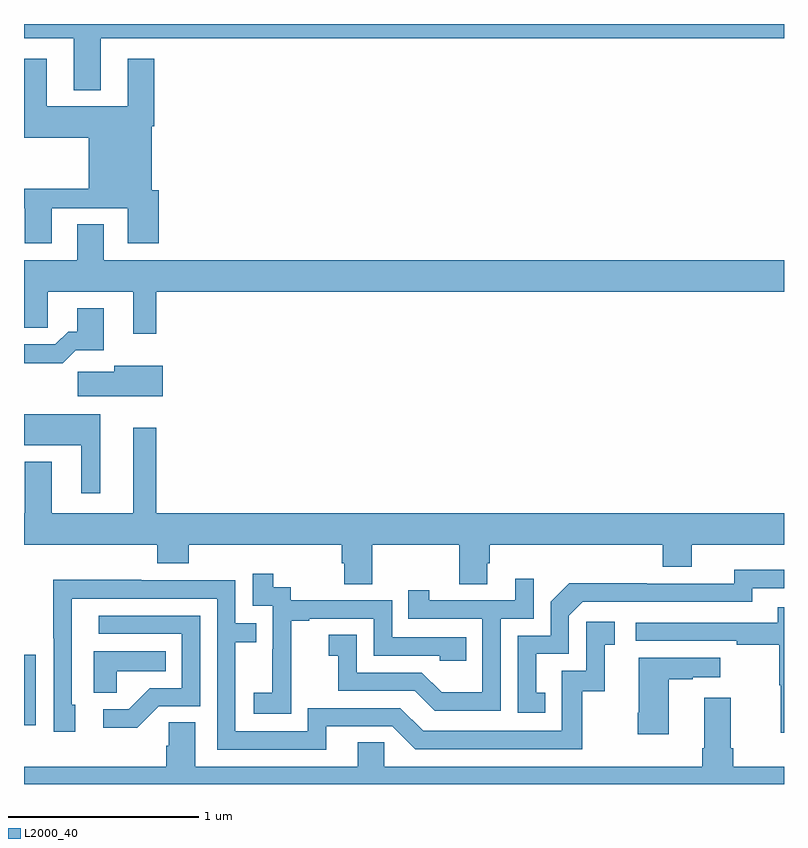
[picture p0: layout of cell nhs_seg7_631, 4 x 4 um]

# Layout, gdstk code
import gdstk
lib = gdstk.Library(unit=1e-6, precision=1e-09)
def R(c, l, rs):  # rectangles x0, y0, x1, y1
    for r in rs: c.add(gdstk.rectangle(r[:2], r[2:], *l))
def P(c, l, *ps):  # polygons
    for p in ps: c.add(gdstk.Polygon(p, *l))
L2000_40 = (2000, 40)

nhs_seg7_631 = lib.new_cell('nhs_seg7_631')
R(nhs_seg7_631, L2000_40, [(159,1022.31,159.063,1022.68)])
P(nhs_seg7_631, L2000_40, [(159.403,1025.924),(163,1025.924),(163,1026),(159,1026),(159,1025.924),(159.263,1025.924),(159.263,1025.651),(159.403,1025.651)],
  [(159.145,1025.031),(159.545,1025.031),(159.545,1024.845),(159.71,1024.845),(159.71,1025.124),(159.673,1025.124),(159.673,1025.462),(159.686,1025.462),(159.686,1025.818),(159.545,1025.818),(159.545,1025.566),(159.121,1025.566),(159.121,1025.818),(159,1025.818),(159,1025.402),(159.341,1025.402),(159.341,1025.132),(159,1025.132),(159,1025.031),(159.005,1025.031),(159.005,1024.845),(159.145,1024.845)],
  [(159.697,1024.592),(163,1024.592),(163,1024.756),(159.421,1024.756),(159.421,1024.946),(159.281,1024.946),(159.281,1024.756),(159,1024.756),(159,1024.402),(159.126,1024.402),(159.126,1024.592),(159.575,1024.592),(159.575,1024.371),(159.697,1024.371)],
  [(159.272,1024.283),(159.421,1024.283),(159.421,1024.504),(159.281,1024.504),(159.281,1024.381),(159.232,1024.381),(159.165,1024.314),(159,1024.314),(159,1024.214),(159.203,1024.214)],
  [(159.73,1024.201),(159.476,1024.201),(159.476,1024.169),(159.282,1024.169),(159.282,1024.04),(159.73,1024.04)],
  [(159.4,1023.946),(159,1023.946),(159,1023.782),(159.302,1023.782),(159.302,1023.531),(159.4,1023.531)],
  [(160.833,1023.26),(161.29,1023.26),(161.29,1023.052),(161.437,1023.052),(161.437,1023.162),(161.45,1023.162),(161.45,1023.26),(162.362,1023.26),(162.362,1023.143),(162.514,1023.143),(162.514,1023.26),(163,1023.26),(163,1023.424),(159.697,1023.424),(159.697,1023.874),(159.575,1023.874),(159.575,1023.424),(159.145,1023.424),(159.145,1023.697),(159.005,1023.697),(159.005,1023.424),(159,1023.424),(159,1023.26),(159.701,1023.26),(159.701,1023.161),(159.866,1023.161),(159.866,1023.26),(160.673,1023.26),(160.673,1023.162),(160.685,1023.162),(160.685,1023.052),(160.833,1023.052)],
  [(161.744,1022.481),(161.695,1022.481),(161.695,1022.685),(161.868,1022.685),(161.868,1022.886),(161.94,1022.958),(162.834,1022.958),(162.834,1023.03),(163,1023.03),(163,1023.127),(162.738,1023.127),(162.738,1023.054),(162.278,1023.054),(162.278,1023.056),(161.87,1023.056),(161.772,1022.958),(161.772,1022.781),(161.598,1022.781),(161.598,1022.376),(161.744,1022.376)],
  [(160.407,1022.575),(160.406,1022.575),(160.406,1022.859),(160.501,1022.859),(160.501,1022.871),(160.842,1022.871),(160.842,1022.676),(161.187,1022.676),(161.187,1022.649),(161.327,1022.649),(161.327,1022.772),(160.938,1022.772),(160.938,1022.967),(160.404,1022.967),(160.404,1023.036),(160.312,1023.036),(160.312,1023.106),(160.203,1023.106),(160.203,1022.937),(160.308,1022.937),(160.308,1022.708),(160.307,1022.708),(160.307,1022.479),(160.209,1022.479),(160.209,1022.369),(160.407,1022.369)],
  [(161.508,1022.871),(161.682,1022.871),(161.682,1023.079),(161.585,1023.079),(161.585,1022.967),(161.134,1022.967),(161.134,1023.019),(161.023,1023.019),(161.023,1022.871),(161.412,1022.871),(161.412,1022.482),(161.198,1022.482),(161.094,1022.586),(160.752,1022.586),(160.752,1022.785),(160.605,1022.785),(160.605,1022.675),(160.654,1022.675),(160.654,1022.49),(161.057,1022.49),(161.162,1022.385),(161.508,1022.385)],
  [(160.591,1022.304),(160.938,1022.304),(161.058,1022.184),(161.938,1022.184),(161.938,1022.487),(162.056,1022.487),(162.056,1022.733),(162.109,1022.733),(162.109,1022.854),(161.958,1022.854),(161.958,1022.595),(161.829,1022.595),(161.829,1022.28),(161.1,1022.28),(160.98,1022.4),(160.494,1022.4),(160.494,1022.277),(160.113,1022.277),(160.113,1022.746),(160.223,1022.746),(160.223,1022.847),(160.113,1022.847),(160.113,1023.072),(159.617,1023.072),(159.617,1023.074),(159.154,1023.074),(159.154,1022.767),(159.156,1022.767),(159.156,1022.274),(159.271,1022.274),(159.271,1022.418),(159.252,1022.418),(159.252,1022.976),(160.017,1022.976),(160.017,1022.181),(160.591,1022.181)],
  [(163,1022.929),(162.967,1022.929),(162.967,1022.85),(162.219,1022.85),(162.219,1022.754),(162.751,1022.754),(162.751,1022.734),(162.975,1022.734),(162.975,1022.52),(162.982,1022.52),(162.982,1022.271),(163,1022.271)],
  [(159.708,1022.409),(159.927,1022.409),(159.927,1022.886),(159.393,1022.886),(159.393,1022.79),(159.831,1022.79),(159.831,1022.505),(159.662,1022.505),(159.551,1022.394),(159.417,1022.394),(159.417,1022.297),(159.595,1022.297)],
  [(159.489,1022.594),(159.746,1022.594),(159.746,1022.698),(159.368,1022.698),(159.368,1022.479),(159.489,1022.479)],
  [(162.394,1022.551),(162.521,1022.551),(162.521,1022.561),(162.664,1022.561),(162.664,1022.665),(162.236,1022.665),(162.236,1022.374),(162.229,1022.374),(162.229,1022.262),(162.394,1022.262)],
  [(163,1022.092),(162.734,1022.092),(162.734,1022.188),(162.721,1022.188),(162.721,1022.455),(162.581,1022.455),(162.581,1022.188),(162.569,1022.188),(162.569,1022.092),(160.896,1022.092),(160.896,1022.219),(160.757,1022.219),(160.757,1022.092),(159.901,1022.092),(159.901,1022.324),(159.762,1022.324),(159.762,1022.201),(159.749,1022.201),(159.749,1022.092),(159,1022.092),(159,1022),(163,1022)])

lib.write_gds('nhs_seg7_631.gds')
